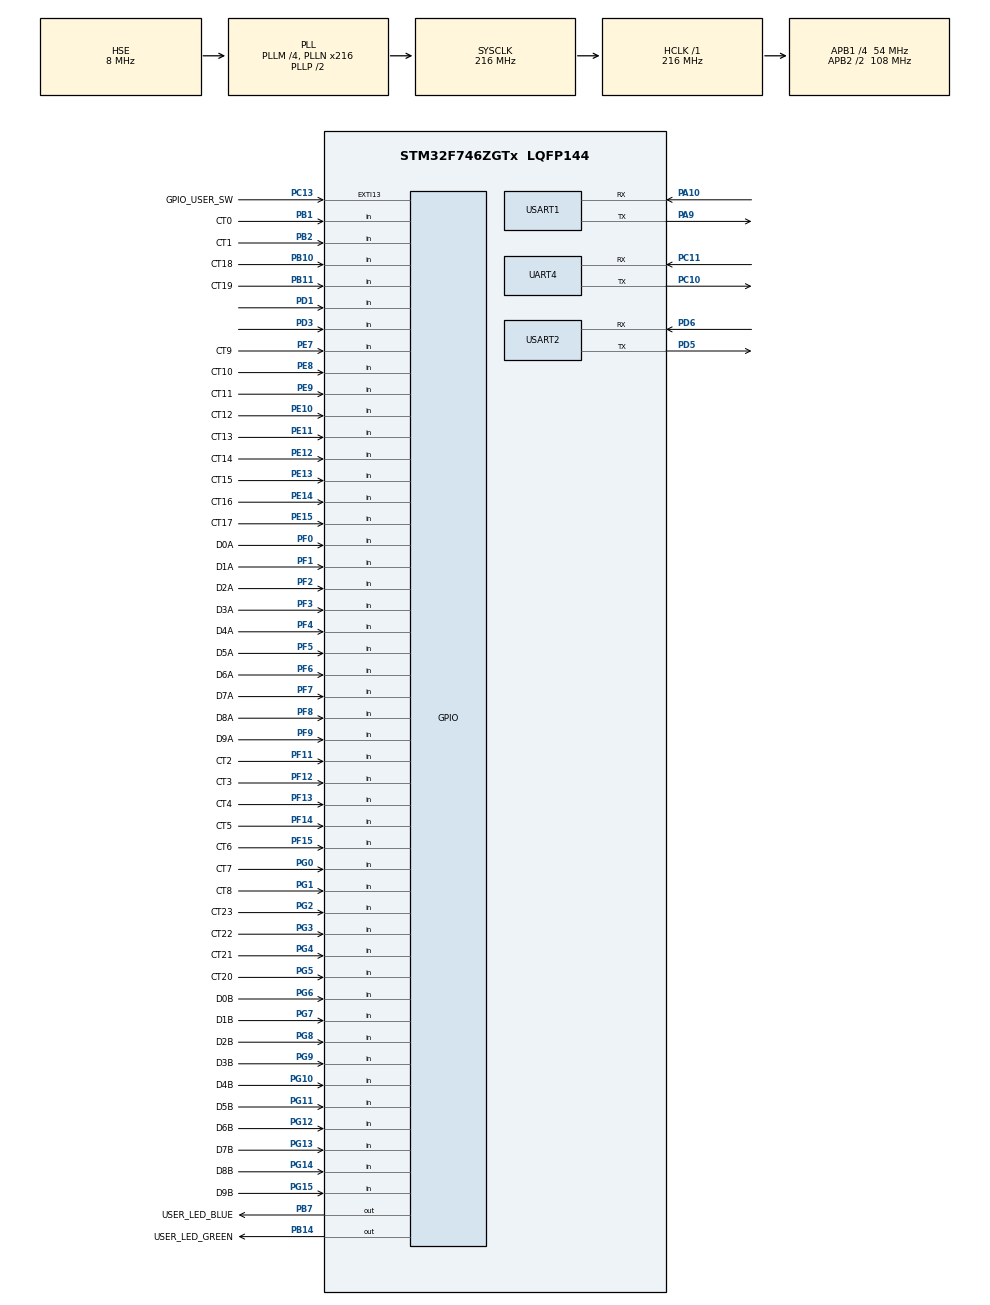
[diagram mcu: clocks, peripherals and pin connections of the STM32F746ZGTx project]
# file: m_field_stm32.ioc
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CORTEX_M7.default_mode_Activation=1
IWDG.Prescaler=IWDG_PRESCALER_64
IWDG.Reload=4000
IWDG.Window=4000
Mcu.Family=STM32F7
Mcu.Name=STM32F746ZGTx
Mcu.Package=LQFP144
NVIC.EXTI15_10_IRQn=true\:0\:0\:false\:false\:true\:true\:true\:true
NVIC.PriorityGroup=NVIC_PRIORITYGROUP_4
PA10.Mode=Asynchronous
PA10.Signal=USART1_RX
PA13.Mode=Serial_Wire
PA13.Signal=SYS_JTMS-SWDIO
PA14.Mode=Serial_Wire
PA14.Signal=SYS_JTCK-SWCLK
PA9.Mode=Asynchronous
PA9.Signal=USART1_TX
PB1.GPIO_Label=CT0
PB1.Signal=GPIO_Input
PB10.GPIO_Label=CT18
PB10.Signal=GPIO_Input
PB11.GPIO_Label=CT19
PB11.Signal=GPIO_Input
PB14.GPIO_Label=USER_LED_GREEN
PB14.GPIO_PuPd=GPIO_PULLDOWN
PB14.PinState=GPIO_PIN_RESET
PB14.Signal=GPIO_Output
PB2.GPIO_Label=CT1
PB2.Signal=GPIO_Input
PB7.GPIO_Label=USER_LED_BLUE
PB7.GPIO_PuPd=GPIO_PULLDOWN
PB7.Signal=GPIO_Output
PC10.Mode=Asynchronous
PC10.Signal=UART4_TX
PC11.Mode=Asynchronous
PC11.Signal=UART4_RX
PC13.GPIO_Label=GPIO_USER_SW
PC13.GPIO_PuPd=GPIO_PULLDOWN
PC13.Signal=GPXTI13
PD1.GPIO_PuPd=GPIO_PULLDOWN
PD1.Signal=GPIO_Input
PD3.GPIO_PuPd=GPIO_PULLDOWN
PD3.Signal=GPIO_Input
PD5.Mode=Asynchronous
PD5.Signal=USART2_TX
PD6.Mode=Asynchronous
PD6.Signal=USART2_RX
PD8.Signal=USART3_TX
PD9.Signal=USART3_RX
PE10.GPIO_Label=CT12
PE10.Signal=GPIO_Input
PE11.GPIO_Label=CT13
PE11.Signal=GPIO_Input
PE12.GPIO_Label=CT14
PE12.Signal=GPIO_Input
PE13.GPIO_Label=CT15
PE13.Signal=GPIO_Input
PE14.GPIO_Label=CT16
PE14.Signal=GPIO_Input
PE15.GPIO_Label=CT17
PE15.Signal=GPIO_Input
PE7.GPIO_Label=CT9
PE7.Signal=GPIO_Input
PE8.GPIO_Label=CT10
PE8.Signal=GPIO_Input
PE9.GPIO_Label=CT11
PE9.Signal=GPIO_Input
PF0.GPIO_Label=D0A
PF0.Signal=GPIO_Input
PF1.GPIO_Label=D1A
PF1.Signal=GPIO_Input
PF11.GPIO_Label=CT2
PF11.Signal=GPIO_Input
PF12.GPIO_Label=CT3
PF12.Signal=GPIO_Input
PF13.GPIO_Label=CT4
PF13.Signal=GPIO_Input
PF14.GPIO_Label=CT5
PF14.Signal=GPIO_Input
PF15.GPIO_Label=CT6
PF15.Signal=GPIO_Input
PF2.GPIO_Label=D2A
PF2.Signal=GPIO_Input
PF3.GPIO_Label=D3A
PF3.Signal=GPIO_Input
PF4.GPIO_Label=D4A
PF4.Signal=GPIO_Input
PF5.GPIO_Label=D5A
PF5.Signal=GPIO_Input
PF6.GPIO_Label=D6A
PF6.Signal=GPIO_Input
PF7.GPIO_Label=D7A
PF7.Signal=GPIO_Input
PF8.GPIO_Label=D8A
PF8.Signal=GPIO_Input
PF9.GPIO_Label=D9A
PF9.Signal=GPIO_Input
PG0.GPIO_Label=CT7
PG0.Signal=GPIO_Input
PG1.GPIO_Label=CT8
PG1.Signal=GPIO_Input
PG10.GPIO_Label=D4B
PG10.Signal=GPIO_Input
PG11.GPIO_Label=D5B
PG11.Signal=GPIO_Input
PG12.GPIO_Label=D6B
PG12.Signal=GPIO_Input
PG13.GPIO_Label=D7B
PG13.Signal=GPIO_Input
PG14.GPIO_Label=D8B
PG14.Signal=GPIO_Input
PG15.GPIO_Label=D9B
PG15.Signal=GPIO_Input
PG2.GPIO_Label=CT23
PG2.Signal=GPIO_Input
PG3.GPIO_Label=CT22
PG3.Signal=GPIO_Input
PG4.GPIO_Label=CT21
PG4.Signal=GPIO_Input
PG5.GPIO_Label=CT20
PG5.Signal=GPIO_Input
PG6.GPIO_Label=D0B
PG6.Signal=GPIO_Input
PG7.GPIO_Label=D1B
PG7.Signal=GPIO_Input
PG8.GPIO_Label=D2B
PG8.Signal=GPIO_Input
PG9.GPIO_Label=D3B
PG9.Signal=GPIO_Input
PH0/OSC_IN.Mode=HSE-External-Oscillator
PH0/OSC_IN.Signal=RCC_OSC_IN
PH1/OSC_OUT.Mode=HSE-External-Oscillator
PH1/OSC_OUT.Signal=RCC_OSC_OUT
ProjectManager.HeapSize=0x200
ProjectManager.StackSize=0x400
ProjectManager.TargetToolchain=STM32CubeIDE
RCC.AHBFreq_Value=216000000
RCC.APB1CLKDivider=RCC_HCLK_DIV4
RCC.APB1Freq_Value=54000000
RCC.APB1TimFreq_Value=108000000
RCC.APB2CLKDivider=RCC_HCLK_DIV2
RCC.APB2Freq_Value=108000000
RCC.APB2TimFreq_Value=216000000
RCC.CortexFreq_Value=216000000
RCC.HCLKFreq_Value=216000000
RCC.HSE_VALUE=8000000
RCC.HSI_VALUE=16000000
RCC.LSE_VALUE=32768
RCC.PLLM=4
RCC.PLLN=216
RCC.PLLSourceVirtual=RCC_PLLSOURCE_HSE
RCC.SYSCLKFreq_VALUE=216000000
RCC.SYSCLKSource=RCC_SYSCLKSOURCE_PLLCLK
RCC.USBFreq_Value=216000000
RCC.VCOOutputFreq_Value=432000000
USART1.VirtualMode-Asynchronous=VM_ASYNC
USART2.VirtualMode-Asynchronous=VM_ASYNC
VP_IWDG_VS_IWDG.Mode=IWDG_Activate
board=custom

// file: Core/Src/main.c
/* USER CODE BEGIN Header */
/**
  ******************************************************************************
  * @file           : main.c
  * @brief          : Main program body
  ******************************************************************************
  * @attention
  *
  * Copyright (c) 2025 STMicroelectronics.
  * All rights reserved.
  *
  * This software is licensed under terms that can be found in the LICENSE file
  * in the root directory of this software component.
  * If no LICENSE file comes with this software, it is provided AS-IS.
  *
  ******************************************************************************
  */
/* USER CODE END Header */
#include "main.h"

/* USER CODE BEGIN Includes */
#include <stdio.h>
#include <string.h>
/* USER CODE END Includes */

/* USER CODE BEGIN PTD */
typedef struct {
	uint16_t data_port_b;
	uint16_t data_port_e;
	uint16_t data_port_f;
	uint16_t data_port_g;
} sample_t;

typedef struct {
	int16_t ns_adc;
	int16_t ew_adc;
	uint32_t ns_t;
	uint32_t ew_t;
	uint32_t counter;
} data_record_t;

typedef struct {
	int16_t max_ns_adc;
	int16_t max_ew_adc;
	uint32_t max_ns_t;
	uint32_t max_ew_t;
	float max_ns_inp;
	float max_ew_inp;
} max_sample_t;

typedef struct {
	int16_t min_ns_adc;
	int16_t min_ew_adc;
	uint32_t min_ns_t;
	uint32_t min_ew_t;
} min_sample_t;

typedef struct {
	//uint8_t ns_rec_type;
	int16_t ns_max_adc;
	int16_t ns_min_adc;
	int16_t ew_max_adc;
	int16_t ew_min_adc;

	uint32_t ns_max_t;
	uint32_t ns_min_t;
	uint32_t ew_max_t;
	uint32_t ew_min_t;
} record_t;

/* USER CODE END PTD */

/* USER CODE BEGIN PD */
#define DEBUG_PRINT_DATA_ENABLE
#define DEBUG_SYSTEM_ENABLE

//#define WATCHDOG_DISABLE

#define SETTING_USE_DATASHEET_PARAM
//#define SETTING_INVERT_EW_CHANNEL

#define DELAY_SEC						3
#define MAX_BUF_SIZE					500

#define TB_MODE_0						0
#define TB_MODE_1						~(TB_MODE_0)
#define TB_MODE							TB_MODE_0

#define SAMPLE_READ_MAX					1000
#define ADC_R1         				 	10000.0
#define ADC_R2          				4320.0

#ifdef SETTING_USE_DATASHEET_PARAM
	#define ADC_VREF_P						2.048
	#define ADC_VREF_N						0.988
	#define ADC_OFFSET						1.52
#else
	#define ADC_VREF_P						2.003
	#define ADC_VREF_N						0.994
	#define ADC_OFFSET						1.55
#endif
/* USER CODE END PD */

IWDG_HandleTypeDef hiwdg;

UART_HandleTypeDef huart4;
UART_HandleTypeDef huart1;
UART_HandleTypeDef huart2;

/* USER CODE BEGIN PV */
UART_HandleTypeDef *esp_uart;
UART_HandleTypeDef *debug_uart;

sample_t sample[SAMPLE_READ_MAX];
record_t rec;
/* USER CODE END PV */

void SystemClock_Config(void);
static void MPU_Config(void);
static void MX_GPIO_Init(void);
static void MX_USART1_UART_Init(void);
static void MX_UART4_Init(void);
static void MX_USART2_UART_Init(void);
static void MX_IWDG_Init(void);
/* USER CODE BEGIN PFP */
void read_adc();
void find_max_min();
void send_data();
void clear_buffer();
/* USER CODE END PFP */

/* USER CODE BEGIN 0 */
void delay_sec(int sec){
	int count_500ms = 0;
	do{
		if (HAL_IWDG_Refresh(&hiwdg) != HAL_OK){
			Error_Handler();
		}
		HAL_Delay(500);
		count_500ms++;
	}while(count_500ms < (sec<<1));
}
/* USER CODE END 0 */

int main(void)
{

  /* MPU Configuration--------------------------------------------------------*/
  MPU_Config();

  /* MCU Configuration--------------------------------------------------------*/

  /* Reset of all peripherals, Initializes the Flash interface and the Systick. */
  HAL_Init();

  /* USER CODE BEGIN Init */
  // -- UART Mapping -- //
  esp_uart = &huart2;
  debug_uart = &huart4;
  /* USER CODE END Init */

  /* Configure the system clock */
  SystemClock_Config();

  /* Initialize all configured peripherals */
  MX_GPIO_Init();
  MX_USART1_UART_Init();
  MX_UART4_Init();
  MX_USART2_UART_Init();
  MX_IWDG_Init();
  /* USER CODE BEGIN 2 */

  // Temp for debug
#ifdef WATCHDOG_DISABLE
  DBGMCU->APB1FZ |= DBGMCU_APB1_FZ_DBG_IWDG_STOP;
#endif

  // Check last reset cause
  printf("Last reset cause : ");
  if (__HAL_RCC_GET_FLAG(RCC_FLAG_IWDGRST)){
	  printf("IWDG timer");
  }else if(__HAL_RCC_GET_FLAG(RCC_FLAG_PINRST)){
	  printf("Reset Pin");
  }else{
	  printf("Other reason");
  }
  printf("\n");
  __HAL_RCC_CLEAR_RESET_FLAGS();

  printf("Setup :\n");

  // Empty all data in sample buffer
  clear_buffer();

  printf("Main program started\n");
  HAL_GPIO_WritePin(USER_LED_BLUE_GPIO_Port, USER_LED_BLUE_Pin, 0);
  /* USER CODE END 2 */

  /* Infinite loop */
  /* USER CODE BEGIN WHILE */
  while(1){
	  uint16_t port_d;

	  if (HAL_IWDG_Refresh(&hiwdg) != HAL_OK){
		  Error_Handler();
	  }

	  port_d = GPIOD->IDR;
	  if(port_d & 0x000A){			// Use 0x0002 for TRIG+, 0x0008 for TRIG- or 0x000A for Both trigger
		  // TRIG +
		  read_adc();
		  find_max_min();
		  send_data();
		  clear_buffer();
		  delay_sec(DELAY_SEC);
	  }
  }
  /* USER CODE END 3 */
}

void SystemClock_Config(void)
{
  RCC_OscInitTypeDef RCC_OscInitStruct = {0};
  RCC_ClkInitTypeDef RCC_ClkInitStruct = {0};

  /** Configure the main internal regulator output voltage
  */
  __HAL_RCC_PWR_CLK_ENABLE();
  __HAL_PWR_VOLTAGESCALING_CONFIG(PWR_REGULATOR_VOLTAGE_SCALE1);

  /** Initializes the RCC Oscillators according to the specified parameters
  * in the RCC_OscInitTypeDef structure.
  */
  RCC_OscInitStruct.OscillatorType = RCC_OSCILLATORTYPE_LSI|RCC_OSCILLATORTYPE_HSE;
  RCC_OscInitStruct.HSEState = RCC_HSE_ON;
  RCC_OscInitStruct.LSIState = RCC_LSI_ON;
  RCC_OscInitStruct.PLL.PLLState = RCC_PLL_ON;
  RCC_OscInitStruct.PLL.PLLSource = RCC_PLLSOURCE_HSE;
  RCC_OscInitStruct.PLL.PLLM = 4;
  RCC_OscInitStruct.PLL.PLLN = 216;
  RCC_OscInitStruct.PLL.PLLP = RCC_PLLP_DIV2;
  RCC_OscInitStruct.PLL.PLLQ = 2;
  if (HAL_RCC_OscConfig(&RCC_OscInitStruct) != HAL_OK)
  {
    Error_Handler();
  }

  /** Activate the Over-Drive mode
  */
  if (HAL_PWREx_EnableOverDrive() != HAL_OK)
  {
    Error_Handler();
  }

  /** Initializes the CPU, AHB and APB buses clocks
  */
  RCC_ClkInitStruct.ClockType = RCC_CLOCKTYPE_HCLK|RCC_CLOCKTYPE_SYSCLK
                              |RCC_CLOCKTYPE_PCLK1|RCC_CLOCKTYPE_PCLK2;
  RCC_ClkInitStruct.SYSCLKSource = RCC_SYSCLKSOURCE_PLLCLK;
  RCC_ClkInitStruct.AHBCLKDivider = RCC_SYSCLK_DIV1;
  RCC_ClkInitStruct.APB1CLKDivider = RCC_HCLK_DIV4;
  RCC_ClkInitStruct.APB2CLKDivider = RCC_HCLK_DIV2;

  if (HAL_RCC_ClockConfig(&RCC_ClkInitStruct, FLASH_LATENCY_7) != HAL_OK)
  {
    Error_Handler();
  }
}

static void MX_IWDG_Init(void)
{

  hiwdg.Instance = IWDG;
  hiwdg.Init.Prescaler = IWDG_PRESCALER_64;
  hiwdg.Init.Window = 4000;
  hiwdg.Init.Reload = 4000;
  if (HAL_IWDG_Init(&hiwdg) != HAL_OK)
  {
    Error_Handler();
  }

}

static void MX_UART4_Init(void)
{

  huart4.Instance = UART4;
  huart4.Init.BaudRate = 115200;
  huart4.Init.WordLength = UART_WORDLENGTH_8B;
  huart4.Init.StopBits = UART_STOPBITS_1;
  huart4.Init.Parity = UART_PARITY_NONE;
  huart4.Init.Mode = UART_MODE_TX_RX;
  huart4.Init.HwFlowCtl = UART_HWCONTROL_NONE;
  huart4.Init.OverSampling = UART_OVERSAMPLING_16;
  huart4.Init.OneBitSampling = UART_ONE_BIT_SAMPLE_DISABLE;
  huart4.AdvancedInit.AdvFeatureInit = UART_ADVFEATURE_NO_INIT;
  if (HAL_UART_Init(&huart4) != HAL_OK)
  {
    Error_Handler();
  }

}

static void MX_USART1_UART_Init(void)
{

  huart1.Instance = USART1;
  huart1.Init.BaudRate = 115200;
  huart1.Init.WordLength = UART_WORDLENGTH_8B;
  huart1.Init.StopBits = UART_STOPBITS_1;
  huart1.Init.Parity = UART_PARITY_NONE;
  huart1.Init.Mode = UART_MODE_TX_RX;
  huart1.Init.HwFlowCtl = UART_HWCONTROL_NONE;
  huart1.Init.OverSampling = UART_OVERSAMPLING_16;
  huart1.Init.OneBitSampling = UART_ONE_BIT_SAMPLE_DISABLE;
  huart1.AdvancedInit.AdvFeatureInit = UART_ADVFEATURE_NO_INIT;
  if (HAL_UART_Init(&huart1) != HAL_OK)
  {
    Error_Handler();
  }

}

static void MX_USART2_UART_Init(void)
{

  huart2.Instance = USART2;
  huart2.Init.BaudRate = 115200;
  huart2.Init.WordLength = UART_WORDLENGTH_8B;
  huart2.Init.StopBits = UART_STOPBITS_1;
  huart2.Init.Parity = UART_PARITY_NONE;
  huart2.Init.Mode = UART_MODE_TX_RX;
  huart2.Init.HwFlowCtl = UART_HWCONTROL_NONE;
  huart2.Init.OverSampling = UART_OVERSAMPLING_16;
  huart2.Init.OneBitSampling = UART_ONE_BIT_SAMPLE_DISABLE;
  huart2.AdvancedInit.AdvFeatureInit = UART_ADVFEATURE_NO_INIT;
  if (HAL_UART_Init(&huart2) != HAL_OK)
  {
    Error_Handler();
  }

}

static void MX_GPIO_Init(void)
{
  GPIO_InitTypeDef GPIO_InitStruct = {0};

  /* GPIO Ports Clock Enable */
  __HAL_RCC_GPIOC_CLK_ENABLE();
  __HAL_RCC_GPIOF_CLK_ENABLE();
  __HAL_RCC_GPIOH_CLK_ENABLE();
  __HAL_RCC_GPIOB_CLK_ENABLE();
  __HAL_RCC_GPIOG_CLK_ENABLE();
  __HAL_RCC_GPIOE_CLK_ENABLE();
  __HAL_RCC_GPIOD_CLK_ENABLE();
  __HAL_RCC_GPIOA_CLK_ENABLE();

  /*Configure GPIO pin Output Level */
  HAL_GPIO_WritePin(GPIOB, USER_LED_GREEN_Pin|USER_LED_BLUE_Pin, GPIO_PIN_RESET);

  /*Configure GPIO pin : GPIO_USER_SW_Pin */
  GPIO_InitStruct.Pin = GPIO_USER_SW_Pin;
  GPIO_InitStruct.Mode = GPIO_MODE_IT_RISING;
  GPIO_InitStruct.Pull = GPIO_PULLDOWN;
  HAL_GPIO_Init(GPIO_USER_SW_GPIO_Port, &GPIO_InitStruct);

  /*Configure GPIO pins : D0A_Pin D1A_Pin D2A_Pin D3A_Pin
                           D4A_Pin D5A_Pin D6A_Pin D7A_Pin
                           D8A_Pin D9A_Pin CT2_Pin CT3_Pin
                           CT4_Pin CT5_Pin CT6_Pin */
  GPIO_InitStruct.Pin = D0A_Pin|D1A_Pin|D2A_Pin|D3A_Pin
                          |D4A_Pin|D5A_Pin|D6A_Pin|D7A_Pin
                          |D8A_Pin|D9A_Pin|CT2_Pin|CT3_Pin
                          |CT4_Pin|CT5_Pin|CT6_Pin;
  GPIO_InitStruct.Mode = GPIO_MODE_INPUT;
  GPIO_InitStruct.Pull = GPIO_NOPULL;
  HAL_GPIO_Init(GPIOF, &GPIO_InitStruct);

  /*Configure GPIO pins : CT0_Pin CT1_Pin CT18_Pin CT19_Pin */
  GPIO_InitStruct.Pin = CT0_Pin|CT1_Pin|CT18_Pin|CT19_Pin;
  GPIO_InitStruct.Mode = GPIO_MODE_INPUT;
  GPIO_InitStruct.Pull = GPIO_NOPULL;
  HAL_GPIO_Init(GPIOB, &GPIO_InitStruct);

  /*Configure GPIO pins : CT7_Pin CT8_Pin CT23_Pin CT22_Pin
                           CT21_Pin CT20_Pin D0B_Pin D1B_Pin
                           D2B_Pin D3B_Pin D4B_Pin D5B_Pin
                           D6B_Pin D7B_Pin D8B_Pin D9B_Pin */
  GPIO_InitStruct.Pin = CT7_Pin|CT8_Pin|CT23_Pin|CT22_Pin
                          |CT21_Pin|CT20_Pin|D0B_Pin|D1B_Pin
                          |D2B_Pin|D3B_Pin|D4B_Pin|D5B_Pin
                          |D6B_Pin|D7B_Pin|D8B_Pin|D9B_Pin;
  GPIO_InitStruct.Mode = GPIO_MODE_INPUT;
  GPIO_InitStruct.Pull = GPIO_NOPULL;
  HAL_GPIO_Init(GPIOG, &GPIO_InitStruct);

  /*Configure GPIO pins : CT9_Pin CT10_Pin CT11_Pin CT12_Pin
                           CT13_Pin CT14_Pin CT15_Pin CT16_Pin
                           CT17_Pin */
  GPIO_InitStruct.Pin = CT9_Pin|CT10_Pin|CT11_Pin|CT12_Pin
                          |CT13_Pin|CT14_Pin|CT15_Pin|CT16_Pin
                          |CT17_Pin;
  GPIO_InitStruct.Mode = GPIO_MODE_INPUT;
  GPIO_InitStruct.Pull = GPIO_NOPULL;
  HAL_GPIO_Init(GPIOE, &GPIO_InitStruct);

  /*Configure GPIO pins : USER_LED_GREEN_Pin USER_LED_BLUE_Pin */
  GPIO_InitStruct.Pin = USER_LED_GREEN_Pin|USER_LED_BLUE_Pin;
  GPIO_InitStruct.Mode = GPIO_MODE_OUTPUT_PP;
  GPIO_InitStruct.Pull = GPIO_PULLDOWN;
  GPIO_InitStruct.Speed = GPIO_SPEED_FREQ_LOW;
  HAL_GPIO_Init(GPIOB, &GPIO_InitStruct);

  /*Configure GPIO pins : PD8 PD9 */
  GPIO_InitStruct.Pin = GPIO_PIN_8|GPIO_PIN_9;
  GPIO_InitStruct.Mode = GPIO_MODE_AF_PP;
  GPIO_InitStruct.Pull = GPIO_NOPULL;
  GPIO_InitStruct.Speed = GPIO_SPEED_FREQ_VERY_HIGH;
  GPIO_InitStruct.Alternate = GPIO_AF7_USART3;
  HAL_GPIO_Init(GPIOD, &GPIO_InitStruct);

  /*Configure GPIO pins : PD1 PD3 */
  GPIO_InitStruct.Pin = GPIO_PIN_1|GPIO_PIN_3;
  GPIO_InitStruct.Mode = GPIO_MODE_INPUT;
  GPIO_InitStruct.Pull = GPIO_PULLDOWN;
  HAL_GPIO_Init(GPIOD, &GPIO_InitStruct);

  /* EXTI interrupt init*/
  HAL_NVIC_SetPriority(EXTI15_10_IRQn, 0, 0);
  HAL_NVIC_EnableIRQ(EXTI15_10_IRQn);

}

/* USER CODE BEGIN 4 */
int16_t convert_number(uint16_t data){
	int16_t value;
#if TB_MODE == TB_MODE_0
		if((data & 0x0200) > 0){
			// Positive
			value = data & 0x01ff;
		}else{
			// Negative
			value = -(((~data + 1) & 0x01ff));
		}
#else
		if((data & 0x0200) > 0){
			// Negative
			value = -(~data + 0x0001);
		} else{
			// Positive
			value = data & 0x01ff;
		}
#endif
	return value;
}

inline void read_adc(){
	// Read 300 samples
	int count;
	sample_t *p_sample;

	count = 0;
	p_sample = sample;

	do{
		p_sample->data_port_b = GPIOB->IDR;
		p_sample->data_port_e = GPIOE->IDR;
		p_sample->data_port_f = GPIOF->IDR;
		p_sample->data_port_g = GPIOG->IDR;
		p_sample++;
	}while(++count < SAMPLE_READ_MAX);
}

void send_data(){
	char send_buf[MAX_BUF_SIZE];
	uint8_t chksum = 0xa5;			// Temp, the checksum should be a calculated one.

	sprintf(send_buf, "$STMFIELD,%d,%lu,%d,%lu,%d,%lu,%d,%lu*%02X\r\n", rec.ns_max_adc, rec.ns_max_t, rec.ns_min_adc, rec.ns_min_t, rec.ew_max_adc, rec.ew_max_t, rec.ew_min_adc,rec.ew_min_t, chksum);
	HAL_UART_Transmit(esp_uart, (uint8_t*)send_buf, strlen(send_buf), HAL_MAX_DELAY);
#ifdef DEBUG_SYSTEM_ENABLE
	printf("\nSend update to ESP32 = %s\n",send_buf);
#endif
}

float cal_voltage_adc(int16_t adc_val){
	return ((ADC_VREF_P - ADC_VREF_N) * adc_val / 512) + ADC_OFFSET;
}

float cal_voltage_inp(float vol_adc){
	return ((vol_adc - 1.5) / (ADC_R2 / (ADC_R1 + ADC_R2)));
}

void find_max_min(){

	int count;
	sample_t *p_sample;
	uint16_t adc_data_a, adc_data_b;
	int16_t adc_value_a, adc_value_b;
	uint32_t counter = 0;
	uint16_t temp1, temp2;

#ifdef DEBUG_PRINT_DATA_ENABLE
	float ns_max_v, ns_min_v;
	float ew_max_v, ew_min_v;
	float ns_max_inp, ns_min_inp;
	float ew_max_inp, ew_min_inp;
	uint32_t trigger_t;
#endif

	rec.ns_max_adc = 0;
	rec.ns_min_adc = 0;
	rec.ew_max_adc = 0;
	rec.ew_min_adc = 0;

	count = 0;
	p_sample = sample;

	do{
		// Read ADC
		adc_data_a = p_sample->data_port_f & 0x03ff;
		adc_data_b = (p_sample->data_port_g >> 6) & 0x03ff;

		// Read Counter
		counter = 0;
		// -- CT23-CT20 (4 bits)
		temp1 = p_sample->data_port_g; 	// CT23-PG2, CT22-PG3, CT21-PG4, CT20-PG5
		counter |= ((temp1 & 0x0004) << 21);
		counter |= ((temp1 & 0x0008) << 19);
		counter |= ((temp1 & 0x0010) << 17);
		counter |= ((temp1 & 0x0020) << 15);

		// -- CT19-CT18 (2 bits)
		temp1 = p_sample->data_port_b;	// CT19-PB11, CT18-PB10
		temp2 = (temp1 >> 10) & 0x0003;
		counter |= (temp2 << 18);

		// -- CT17-CT9 (9 bits)
		temp1 = p_sample->data_port_e;	// CT17-PE15 ... CT9-PB7
		temp2 = (temp1 >> 7) & 0x01ff;
		counter |= (temp2 << 9);

		// -- CT8-CT7 (2 bits)
		temp1 = p_sample->data_port_g;	// CT8-PG1, CT7-PG0
		temp2 = temp1 & 0x0003;
		counter |= (temp2 << 7);

		// -- CT6-CT2 (5 bits)
		temp1 = p_sample->data_port_f;	// CT6-PF15 ... CT2-PF11
		temp2 = (temp1 >> 11) & 0x001f;
		counter |= (temp2 << 2);

		// -- CT1-CT0 (2 bits)
		temp1 = p_sample->data_port_b;	// CT1-PB2, CT0-PB1
		temp2 = (temp1 >> 1) & 0x0003;
		counter |= temp2;

		// Convert the adc_data to adc_value
		adc_value_a = convert_number(adc_data_a);

#ifdef SETTING_INVERT_EW_CHANNEL
		adc_value_b = -(convert_number(adc_data_b));			// *Invert to negative value due to the hardware bug
#else
		adc_value_b = convert_number(adc_data_b);
#endif

		// Find Max/Min of N-S
		if(adc_value_a > rec.ns_max_adc){
			rec.ns_max_adc = adc_value_a;
			rec.ns_max_t = counter;
		}else if (adc_value_a < rec.ns_min_adc){
			rec.ns_min_adc = adc_value_a;
			rec.ns_min_t = counter;
		}

		// Find Max/Min of E-W
		if(adc_value_b > rec.ew_max_adc){
			rec.ew_max_adc = adc_value_b;
			rec.ew_max_t = counter;
		}else if (adc_value_b < rec.ew_min_adc){
			rec.ew_min_adc = adc_value_b;
			rec.ew_min_t = counter;
		}

		p_sample++;
#ifdef DEBUG_PRINT_DATA_ENABLE
		if (count == 0) trigger_t = counter;
#endif
	} while(++count < SAMPLE_READ_MAX);

#ifdef DEBUG_PRINT_DATA_ENABLE
	// Calculation
	ns_max_v = cal_voltage_adc(rec.ns_max_adc);
	ns_min_v = cal_voltage_adc(rec.ns_min_adc);
	ew_max_v = cal_voltage_adc(rec.ew_max_adc);
	ew_min_v = cal_voltage_adc(rec.ew_min_adc);

	ns_max_inp = cal_voltage_inp(ns_max_v);
	ns_min_inp = cal_voltage_inp(ns_min_v);
	ew_max_inp = cal_voltage_inp(ew_max_v);
	ew_min_inp = cal_voltage_inp(ew_min_v);

	// Printing
	printf("\n");
	printf("-------------------------------------------------------------------------------\n");
	printf("\tMax ADC\t\tMax V\t(Inp)\t\tMin ADC\t\tMin V\t(Inp)\n");
	printf("\tMax Cnt\t\tMax us\t\t\tMin Cnt\t\tMin us\n");
	printf("-------------------------------------------------------------------------------\n");
	printf("N-S\t%d\t\t%2.4f\t(%2.4f)\t%d\t\t%2.4f\t(%2.4f)\n", rec.ns_max_adc, ns_max_v, ns_max_inp, rec.ns_min_adc, ns_min_v, ns_min_inp);
	printf("\t%lu\t\t%1.1f\t\t\t%lu\t\t%1.1f\n", rec.ns_max_t, (rec.ns_max_t-trigger_t)/10.0, rec.ns_min_t, (rec.ns_min_t-trigger_t)/10.0);
	printf("\n");
	printf("E-W\t%d\t\t%2.4f\t(%2.4f)\t%d\t\t%2.4f\t(%2.4f)\n", rec.ew_max_adc, ew_max_v, ew_max_inp, rec.ew_min_adc, ew_min_v, ew_min_inp);
	printf("\t%lu\t\t%1.1f\t\t\t%lu\t\t%1.1f\n", rec.ew_max_t, (rec.ew_max_t-trigger_t)/10.0, rec.ew_min_t, (rec.ew_min_t-trigger_t)/10.0);
	printf("\n");
	printf("\tBase counter = %lu\n",trigger_t);
#endif

}
void clear_buffer(){
	sample_t *p_sample;
	int count = 0;

	p_sample = sample;
	count = 0;
	do{
		p_sample->data_port_b = 0;
		p_sample->data_port_e = 0;
		p_sample->data_port_f = 0;
		p_sample->data_port_g = 0;
		p_sample++;
	}while(++count < SAMPLE_READ_MAX);
}

// This function must not be used //
// It is the infinity loop, this for test ISR only //
void HAL_GPIO_EXTI_Callback(uint16_t GPIO_Pin)
{
	if(GPIO_Pin == GPIO_USER_SW_Pin){
		printf("User switch pressed\n");
		while(1){
			__NOP();
		}
	} else {
      __NOP();
	}
}

// Overwite the _write function that defined in syscall.c
int _write(int file, char *ptr, int len)
{
    HAL_UART_Transmit(debug_uart, (uint8_t *)ptr, len, HAL_MAX_DELAY);
    return len;
}

/* USER CODE END 4 */

 /* MPU Configuration */

void MPU_Config(void)
{
  MPU_Region_InitTypeDef MPU_InitStruct = {0};

  /* Disables the MPU */
  HAL_MPU_Disable();

  /** Initializes and configures the Region and the memory to be protected
  */
  MPU_InitStruct.Enable = MPU_REGION_ENABLE;
  MPU_InitStruct.Number = MPU_REGION_NUMBER0;
  MPU_InitStruct.BaseAddress = 0x0;
  MPU_InitStruct.Size = MPU_REGION_SIZE_4GB;
  MPU_InitStruct.SubRegionDisable = 0x87;
  MPU_InitStruct.TypeExtField = MPU_TEX_LEVEL0;
  MPU_InitStruct.AccessPermission = MPU_REGION_NO_ACCESS;
  MPU_InitStruct.DisableExec = MPU_INSTRUCTION_ACCESS_DISABLE;
  MPU_InitStruct.IsShareable = MPU_ACCESS_SHAREABLE;
  MPU_InitStruct.IsCacheable = MPU_ACCESS_NOT_CACHEABLE;
  MPU_InitStruct.IsBufferable = MPU_ACCESS_NOT_BUFFERABLE;

  HAL_MPU_ConfigRegion(&MPU_InitStruct);
  /* Enables the MPU */
  HAL_MPU_Enable(MPU_PRIVILEGED_DEFAULT);

}

void Error_Handler(void)
{
  __disable_irq();
  while (1)
  {
  }
}
